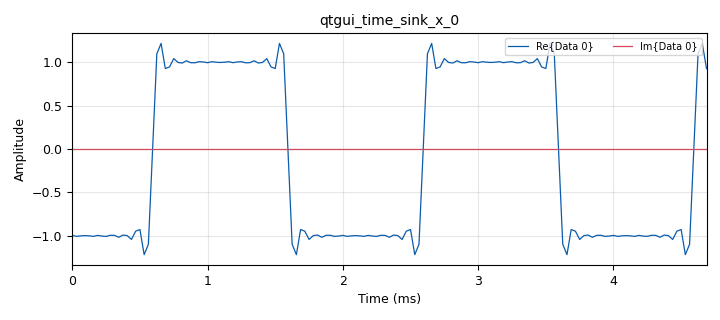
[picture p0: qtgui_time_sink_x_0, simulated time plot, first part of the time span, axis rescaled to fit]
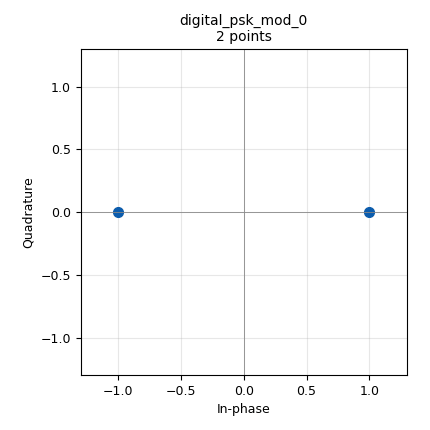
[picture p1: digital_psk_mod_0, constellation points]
<?xml version='1.0' encoding='utf-8'?>
<?grc format='1' created='3.7.10'?>
<flow_graph>
<block>
<key>options</key>
<param><key>id</key><value>top_block</value></param>
<param><key>generate_options</key><value>qt_gui</value></param>
</block>
<block>
<key>variable</key>
<param><key>id</key><value>samp_rate</value></param>
<param><key>value</key><value>32000</value></param>
</block>
<block>
<key>blocks_throttle</key>
<param><key>id</key><value>blocks_throttle_0</value></param>
<param><key>samples_per_second</key><value>samp_rate</value></param>
<param><key>type</key><value>byte</value></param>
</block>
<block>
<key>blocks_vector_source_x</key>
<param><key>id</key><value>blocks_vector_source_x_0</value></param>
<param><key>type</key><value>byte</value></param>
<param><key>repeat</key><value>True</value></param>
<param><key>vlen</key><value>2</value></param>
<param><key>vector</key><value>(0,1)</value></param>
</block>
<block>
<key>blocks_vector_to_stream</key>
<param><key>id</key><value>blocks_vector_to_stream_0</value></param>
<param><key>type</key><value>byte</value></param>
</block>
<block>
<key>digital_psk_mod</key>
<param><key>id</key><value>digital_psk_mod_0</value></param>
<param><key>differential</key><value>True</value></param>
<param><key>excess_bw</key><value>0.35</value></param>
<param><key>mod_code</key><value>"gray"</value></param>
<param><key>constellation_points</key><value>2</value></param>
<param><key>samples_per_symbol</key><value>2</value></param>
</block>
<block>
<key>qtgui_time_sink_x</key>
<param><key>id</key><value>qtgui_time_sink_x_0</value></param>
<param><key>color1</key><value>"blue"</value></param>
<param><key>label1</key><value></value></param>
<param><key>color2</key><value>"red"</value></param>
<param><key>label2</key><value></value></param>
<param><key>size</key><value>1024</value></param>
<param><key>srate</key><value>samp_rate</value></param>
<param><key>type</key><value>complex</value></param>
</block>
<connection><source_block_id>blocks_throttle_0</source_block_id><sink_block_id>digital_psk_mod_0</sink_block_id><source_key>0</source_key><sink_key>0</sink_key></connection>
<connection><source_block_id>blocks_vector_source_x_0</source_block_id><sink_block_id>blocks_vector_to_stream_0</sink_block_id><source_key>0</source_key><sink_key>0</sink_key></connection>
<connection><source_block_id>blocks_vector_to_stream_0</source_block_id><sink_block_id>blocks_throttle_0</sink_block_id><source_key>0</source_key><sink_key>0</sink_key></connection>
<connection><source_block_id>digital_psk_mod_0</source_block_id><sink_block_id>qtgui_time_sink_x_0</sink_block_id><source_key>0</source_key><sink_key>0</sink_key></connection>
</flow_graph>
